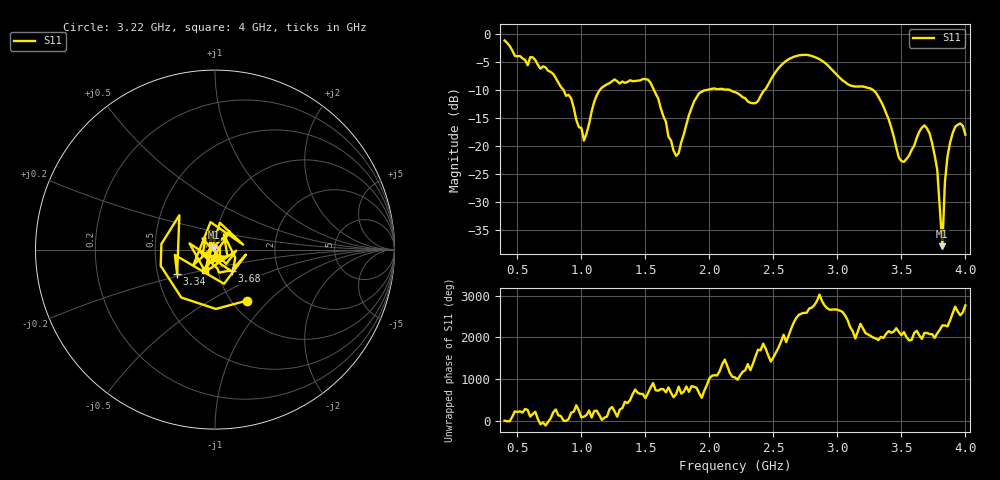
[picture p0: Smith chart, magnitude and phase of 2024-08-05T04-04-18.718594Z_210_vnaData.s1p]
!Created with skrf (http://scikit-rf.org).
# Hz S RI R 50.0
!freq ReS11 ImS11
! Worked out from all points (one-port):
!   181 points, 400 MHz to 4 GHz, reference 50 ohm
!   lowest |S11| = -37.8 dB at 3.82 GHz (marker M1), VSWR 1.03, Z = 49.2 + j1.02 ohm
!   |S11| at or under -10 dB: 860.7 MHz to 1.143 GHz (282.8 MHz wide, 28.2 % of centre); 1.567 GHz to 1.975 GHz (407.6 MHz wide, 23 % of centre); 3.279 GHz to end of sweep (the widest 3 of 4)
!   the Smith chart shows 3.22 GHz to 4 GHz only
!   S11 on the Smith chart (normalised r, x): 3.22 GHz: 1.18, -0.75; 3.34 GHz: 0.63, -0.18; 3.68 GHz: 1.17, -0.29; 4 GHz: 0.87, -0.20
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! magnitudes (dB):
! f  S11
! 400 MHz  -1.2
! 860 MHz  -10.0
! 920 MHz  -11.5
! 1.02 GHz  -19.0
! 1.14 GHz  -10.1
! 1.3 GHz  -8.8
! 1.52 GHz  -8.1
! 1.6 GHz  -11.5
! 1.72 GHz  -20.8
! 1.76 GHz  -21.2
! 1.92 GHz  -10.5
! 2.2 GHz  -10.4
! 2.36 GHz  -12.3
! 2.66 GHz  -4.1
! 2.86 GHz  -4.5
! 3.1 GHz  -9.2
! 3.22 GHz  -9.5
! 3.34 GHz  -12.0
! 3.48 GHz  -22.0
! 3.56 GHz  -21.7
! 3.68 GHz  -16.3
! 3.72 GHz  -17.7
! 3.78 GHz  -24.2
! 3.82 GHz  -37.8
! 3.84 GHz  -26.4
! 3.88 GHz  -19.4
! 3.94 GHz  -16.2
! 4 GHz  -17.9
